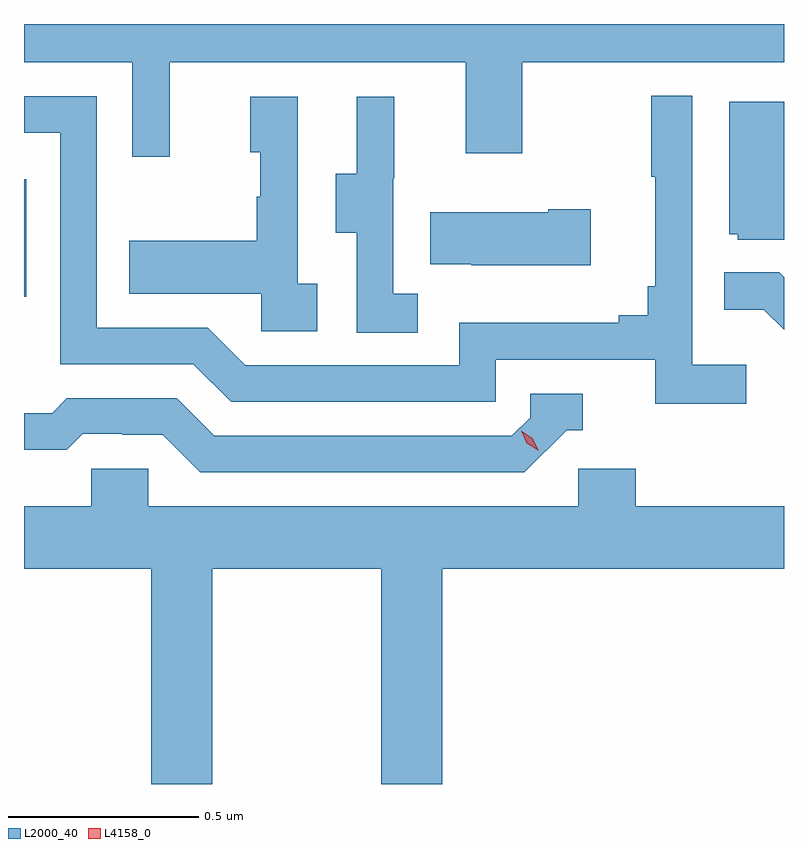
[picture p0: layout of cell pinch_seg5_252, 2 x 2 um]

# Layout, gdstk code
import gdstk
lib = gdstk.Library(unit=1e-6, precision=1e-09)
def R(c, l, rs):  # rectangles x0, y0, x1, y1
    for r in rs: c.add(gdstk.rectangle(r[:2], r[2:], *l))
def P(c, l, *ps):  # polygons
    for p in ps: c.add(gdstk.Polygon(p, *l))
L2000_40 = (2000, 40)
L4158_0 = (4158, 0)

pinch_seg5_252 = lib.new_cell('pinch_seg5_252')
R(pinch_seg5_252, L2000_40, [(936.048,906.759,936.054,907.068)])
P(pinch_seg5_252, L2000_40, [(936.431,907.376),(937.211,907.376),(937.211,907.137),(937.359,907.137),(937.359,907.376),(938.048,907.376),(938.048,907.477),(936.048,907.477),(936.048,907.376),(936.333,907.376),(936.333,907.128),(936.431,907.128)],
  [(937.948,906.58),(937.806,906.58),(937.806,907.288),(937.698,907.288),(937.698,907.075),(937.709,907.075),(937.709,906.787),(937.69,906.787),(937.69,906.71),(937.613,906.71),(937.613,906.691),(937.194,906.691),(937.194,906.579),(936.63,906.579),(936.531,906.678),(936.24,906.678),(936.24,907.287),(936.048,907.287),(936.048,907.191),(936.144,907.191),(936.144,906.582),(936.494,906.582),(936.593,906.483),(937.29,906.483),(937.29,906.594),(937.709,906.594),(937.709,906.478),(937.948,906.478)],
  [(937.084,906.767),(937.02,906.767),(937.02,907.071),(937.022,907.071),(937.022,907.285),(936.923,907.285),(936.923,907.083),(936.869,907.083),(936.869,906.928),(936.924,906.928),(936.924,906.664),(937.084,906.664)],
  [(936.82,906.794),(936.768,906.794),(936.768,907.285),(936.644,907.285),(936.644,907.14),(936.67,907.14),(936.67,907.022),(936.66,907.022),(936.66,906.907),(936.325,906.907),(936.325,906.767),(936.672,906.767),(936.672,906.669),(936.82,906.669)],
  [(938.048,907.273),(937.904,907.273),(937.904,906.924),(937.926,906.924),(937.926,906.909),(938.048,906.909)],
  [(937.54,906.99),(937.427,906.99),(937.427,906.982),(937.117,906.982),(937.117,906.845),(937.225,906.845),(937.225,906.842),(937.54,906.842)],
  [(938.048,906.811),(938.035,906.824),(937.891,906.824),(937.891,906.725),(937.995,906.725),(938.048,906.672)],
  [(937.476,906.408),(937.519,906.408),(937.519,906.504),(937.38,906.504),(937.38,906.441),(937.332,906.393),(936.549,906.393),(936.45,906.492),(936.161,906.492),(936.122,906.453),(936.048,906.453),(936.048,906.357),(936.161,906.357),(936.203,906.399),(936.306,906.399),(936.306,906.396),(936.413,906.396),(936.512,906.297),(937.365,906.297)],
  [(936.543,906.044),(936.988,906.044),(936.988,905.477),(937.148,905.477),(937.148,906.044),(938.048,906.044),(938.048,906.208),(937.658,906.208),(937.658,906.306),(937.506,906.306),(937.506,906.208),(936.375,906.208),(936.375,906.306),(936.225,906.306),(936.225,906.208),(936.048,906.208),(936.048,906.044),(936.383,906.044),(936.383,905.477),(936.543,905.477)])
P(pinch_seg5_252, L4158_0, [(937.402,906.354),(937.371,906.374),(937.356,906.407),(937.356,906.407),(937.356,906.407),(937.386,906.387),(937.402,906.354),(937.402,906.354)])

lib.write_gds('pinch_seg5_252.gds')
